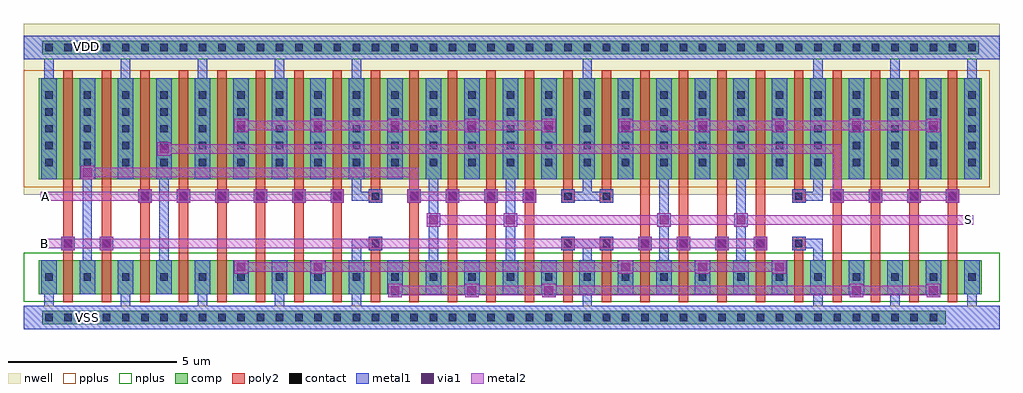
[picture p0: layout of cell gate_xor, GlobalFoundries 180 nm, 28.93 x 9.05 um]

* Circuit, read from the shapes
.subckt gate_xor A B S VDD VSS
XM1 n1 B VSS VSS nfet_03v3 w=1u l=0.28u m=2
XM2 n2 A VSS VSS nfet_03v3 w=1u l=0.28u m=2
XM3 n3 A VSS VSS nfet_03v3 w=1u l=0.28u m=4
XM4 n4 VSS VSS VSS nfet_03v3 w=1u l=0.28u m=2
XM5 S n1 n4 VSS nfet_03v3 w=1u l=0.28u m=4
XM6 n3 VSS VSS VSS nfet_03v3 w=1u l=0.28u m=2
XM7 S B n3 VSS nfet_03v3 w=1u l=0.28u m=4
XM8 n4 n2 VSS VSS nfet_03v3 w=1u l=0.28u m=4
XM9 n1 B VDD VDD pfet_03v3 w=3u l=0.28u m=2
XM10 n2 A VDD VDD pfet_03v3 w=3u l=0.28u m=2
XM11 n5 A VDD VDD pfet_03v3 w=3u l=0.28u m=4
XM12 n5 VDD VDD VDD pfet_03v3 w=3u l=0.28u m=2
XM13 S n1 n5 VDD pfet_03v3 w=3u l=0.28u m=4
XM14 n6 VDD VDD VDD pfet_03v3 w=3u l=0.28u m=2
XM15 S B n6 VDD pfet_03v3 w=3u l=0.28u m=4
XM16 n6 n2 VDD VDD pfet_03v3 w=3u l=0.28u m=4
.ends

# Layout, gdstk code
from math import pi, radians
import gdstk
lib = gdstk.Library(unit=1e-6, precision=5e-09)
def R(c, l, rs):  # rectangles x0, y0, x1, y1
    for r in rs: c.add(gdstk.rectangle(r[:2], r[2:], *l))
def A(c, l, x, y, w, h, nx, ny, dx, dy):  # array of equal rectangles
    R(c, l, [(x+i*dx, y+j*dy, x+i*dx+w, y+j*dy+h) for i in range(nx) for j in range(ny)])
nwell = (21, 0)
comp = (22, 0)
poly2 = (30, 0)
pplus = (31, 0)
nplus = (32, 0)
contact = (33, 0)
metal1 = (34, 0)
via1 = (35, 0)
metal2 = (36, 0)

std_pfet_2nf = lib.new_cell('std_pfet_2nf')
R(std_pfet_2nf, nwell, [(-1.79,-1.86,1.79,1.86)])
R(std_pfet_2nf, comp, [(-1.44,-1.5,1.44,1.5)])
R(std_pfet_2nf, poly2, [(-0.71,-1.74,-0.43,1.74), (0.43,-1.74,0.71,1.74)])
R(std_pfet_2nf, pplus, [(-1.67,-1.73,1.67,1.73)])
A(std_pfet_2nf, contact, -1.25, -1.11, 0.22, 0.22, 3, 5, 1.14, 0.5)
A(std_pfet_2nf, metal1, -1.37, -1.5, 0.46, 3, 3, 1, 1.14, 0)
A(std_pfet_2nf, metal1, -1.37, -1.23, 0.46, 0.46, 3, 5, 1.14, 0.5)

std_pfet_2nf_1 = lib.new_cell('std_pfet_2nf$1')
R(std_pfet_2nf_1, nwell, [(-1.79,-1.86,1.79,1.86)])
R(std_pfet_2nf_1, comp, [(-1.44,-1.5,1.44,1.5)])
R(std_pfet_2nf_1, poly2, [(-0.71,-1.74,-0.43,1.74), (0.43,-1.74,0.71,1.74)])
R(std_pfet_2nf_1, pplus, [(-1.67,-1.73,1.67,1.73)])
A(std_pfet_2nf_1, contact, -1.25, -1.11, 0.22, 0.22, 3, 5, 1.14, 0.5)
A(std_pfet_2nf_1, metal1, -1.37, -1.5, 0.46, 3, 3, 1, 1.14, 0)
A(std_pfet_2nf_1, metal1, -1.37, -1.23, 0.46, 0.46, 3, 5, 1.14, 0.5)

std_cell_frame_2 = lib.new_cell('std_cell_frame$2')
R(std_cell_frame_2, nwell, [(0,3.99,3.78,9.05)])
R(std_cell_frame_2, pplus, [(0,0,3.78,0.7), (0,4.21,3.78,7.67)])
R(std_cell_frame_2, nplus, [(0,0.81,3.78,2.27), (0,8,3.78,8.7)])
std_cell_frame_2.add(gdstk.FlexPath([(0,8.35),(3.78,8.35)], 0.7, ends="flush", simple_path=True, layer=34, datatype=0))  # metal1
std_cell_frame_2.add(gdstk.FlexPath([(0,0.35),(3.78,0.35)], 0.7, ends="flush", simple_path=True, layer=34, datatype=0))  # metal1

std_cell_frame = lib.new_cell('std_cell_frame')
R(std_cell_frame, nwell, [(0,3.99,3.78,9.05)])
R(std_cell_frame, pplus, [(0,0,3.78,0.7), (0,4.21,3.78,7.67)])
R(std_cell_frame, nplus, [(0,0.81,3.78,2.27), (0,8,3.78,8.7)])
std_cell_frame.add(gdstk.FlexPath([(0,8.35),(3.78,8.35)], 0.7, ends="flush", simple_path=True, layer=34, datatype=0))  # metal1
std_cell_frame.add(gdstk.FlexPath([(0,0.35),(3.78,0.35)], 0.7, ends="flush", simple_path=True, layer=34, datatype=0))  # metal1

via_dev_6 = lib.new_cell('via_dev$6')
R(via_dev_6, metal1, [(0,0,0.4,0.4)])
R(via_dev_6, via1, [(0.07,0.07,0.33,0.33)])
R(via_dev_6, metal2, [(0,0,0.4,0.4)])

via_dev = lib.new_cell('via_dev')
R(via_dev, comp, [(0,0,0.4,0.4)])
R(via_dev, contact, [(0.09,0.09,0.31,0.31)])
R(via_dev, metal1, [(0,0,0.4,0.4)])

via_dev_7 = lib.new_cell('via_dev$7')
R(via_dev_7, poly2, [(0,0,0.4,0.4)])
R(via_dev_7, contact, [(0.09,0.09,0.31,0.31)])
R(via_dev_7, metal1, [(0,0,0.4,0.4)])
R(via_dev_7, via1, [(0.07,0.07,0.33,0.33)])
R(via_dev_7, metal2, [(0,0,0.4,0.4)])

std_nfet_2nf = lib.new_cell('std_nfet_2nf')
R(std_nfet_2nf, comp, [(-1.44,-0.5,1.44,0.5)])
R(std_nfet_2nf, poly2, [(-0.71,-0.74,-0.43,0.74), (0.43,-0.74,0.71,0.74)])
R(std_nfet_2nf, nplus, [(-1.67,-0.73,1.67,0.73)])
A(std_nfet_2nf, contact, -1.25, -0.11, 0.22, 0.22, 3, 1, 1.14, 0)
A(std_nfet_2nf, metal1, -1.37, -0.5, 0.46, 1, 3, 1, 1.14, 0)
A(std_nfet_2nf, metal1, -1.37, -0.23, 0.46, 0.46, 3, 1, 1.14, 0)

via_dev_1 = lib.new_cell('via_dev$1')
R(via_dev_1, poly2, [(0,0,0.4,0.4)])
R(via_dev_1, contact, [(0.09,0.09,0.31,0.31)])
R(via_dev_1, metal1, [(0,0,0.4,0.4)])
R(via_dev_1, via1, [(0.07,0.07,0.33,0.33)])
R(via_dev_1, metal2, [(0,0,0.4,0.4)])

via_dev_1_1 = lib.new_cell('via_dev$1$1')
R(via_dev_1_1, poly2, [(0,0,0.4,0.4)])
R(via_dev_1_1, contact, [(0.09,0.09,0.31,0.31)])
R(via_dev_1_1, metal1, [(0,0,0.4,0.4)])
R(via_dev_1_1, via1, [(0.07,0.07,0.33,0.33)])
R(via_dev_1_1, metal2, [(0,0,0.4,0.4)])

std_nfet_2nf_1 = lib.new_cell('std_nfet_2nf$1')
R(std_nfet_2nf_1, comp, [(-1.44,-0.5,1.44,0.5)])
R(std_nfet_2nf_1, poly2, [(-0.71,-0.74,-0.43,0.74), (0.43,-0.74,0.71,0.74)])
R(std_nfet_2nf_1, nplus, [(-1.67,-0.73,1.67,0.73)])
A(std_nfet_2nf_1, contact, -1.25, -0.11, 0.22, 0.22, 3, 1, 1.14, 0)
A(std_nfet_2nf_1, metal1, -1.37, -0.5, 0.46, 1, 3, 1, 1.14, 0)
A(std_nfet_2nf_1, metal1, -1.37, -0.23, 0.46, 0.46, 3, 1, 1.14, 0)

via_dev_2_1_1_1_3_2_1_1 = lib.new_cell('via_dev$2$1$1$1$3$2$1$1')
R(via_dev_2_1_1_1_3_2_1_1, poly2, [(0,0,0.4,0.4)])
R(via_dev_2_1_1_1_3_2_1_1, contact, [(0.09,0.09,0.31,0.31)])
R(via_dev_2_1_1_1_3_2_1_1, metal1, [(0,0,0.4,0.4)])

via_dev_2_1_1_1_3_2_1_1_ = lib.new_cell('via_dev$2$1$1$1$3$2$1$1$1')
R(via_dev_2_1_1_1_3_2_1_1_, poly2, [(0,0,0.4,0.4)])
R(via_dev_2_1_1_1_3_2_1_1_, contact, [(0.09,0.09,0.31,0.31)])
R(via_dev_2_1_1_1_3_2_1_1_, metal1, [(0,0,0.4,0.4)])

via_dev_2_1_1_1_3 = lib.new_cell('via_dev$2$1$1$1$3')
R(via_dev_2_1_1_1_3, poly2, [(0,0,0.4,0.4)])
R(via_dev_2_1_1_1_3, contact, [(0.09,0.09,0.31,0.31)])
R(via_dev_2_1_1_1_3, metal1, [(0,0,0.4,0.4)])

via_dev_2_1_1_1_1_3 = lib.new_cell('via_dev$2$1$1$1$1$3')
R(via_dev_2_1_1_1_1_3, poly2, [(0,0,0.4,0.4)])
R(via_dev_2_1_1_1_1_3, contact, [(0.09,0.09,0.31,0.31)])
R(via_dev_2_1_1_1_1_3, metal1, [(0,0,0.4,0.4)])

via_dev_2_1_1_1_3_1 = lib.new_cell('via_dev$2$1$1$1$3$1')
R(via_dev_2_1_1_1_3_1, poly2, [(0,0,0.4,0.4)])
R(via_dev_2_1_1_1_3_1, contact, [(0.09,0.09,0.31,0.31)])
R(via_dev_2_1_1_1_3_1, metal1, [(0,0,0.4,0.4)])

via_dev_2_1_1_1_1_3_1 = lib.new_cell('via_dev$2$1$1$1$1$3$1')
R(via_dev_2_1_1_1_1_3_1, poly2, [(0,0,0.4,0.4)])
R(via_dev_2_1_1_1_1_3_1, contact, [(0.09,0.09,0.31,0.31)])
R(via_dev_2_1_1_1_1_3_1, metal1, [(0,0,0.4,0.4)])

via_dev_2_1_1_1_3_2 = lib.new_cell('via_dev$2$1$1$1$3$2')
R(via_dev_2_1_1_1_3_2, poly2, [(0,0,0.4,0.4)])
R(via_dev_2_1_1_1_3_2, contact, [(0.09,0.09,0.31,0.31)])
R(via_dev_2_1_1_1_3_2, metal1, [(0,0,0.4,0.4)])

via_dev_2_1_1_1_3_2_1 = lib.new_cell('via_dev$2$1$1$1$3$2$1')
R(via_dev_2_1_1_1_3_2_1, poly2, [(0,0,0.4,0.4)])
R(via_dev_2_1_1_1_3_2_1, contact, [(0.09,0.09,0.31,0.31)])
R(via_dev_2_1_1_1_3_2_1, metal1, [(0,0,0.4,0.4)])

gate_xor = lib.new_cell('gate_xor')
R(gate_xor, nwell, [(4.58,3.99,11.08,9.05), (4.66,3.99,8.24,7.71), (6.94,3.99,10.52,7.71), (11.08,3.99,15.16,9.05), (13.7,3.99,20.2,9.05), (13.78,3.99,17.36,7.71), (16.06,3.99,19.64,7.71), (20.2,3.99,24.28,9.05), (22.82,3.99,28.93,9.05), (25.18,3.99,28.76,7.71)])
A(gate_xor, comp, 5.11, 0.15, 2.11, 0.4, 4, 2, 1.71, 8)
A(gate_xor, comp, 14.23, 0.15, 2.11, 0.4, 4, 2, 1.71, 8)
A(gate_xor, comp, 5.01, 1.04, 2.88, 1, 10, 1, 2.28, 0)
A(gate_xor, comp, 5.01, 4.44, 2.88, 3, 10, 1, 2.28, 0)
A(gate_xor, comp, 0.55, 8.15, 2.11, 0.4, 3, 1, 1.71, 0)
R(gate_xor, comp, [(0.55,0.15,2.66,0.55), (2.26,0.15,5.11,0.55), (11.95,0.15,14.63,0.55), (21.07,0.15,23.75,0.55), (23.35,0.15,25.46,0.55), (25.06,0.15,27.17,0.55), (26.77,0.15,27.34,0.55), (11.95,8.15,14.63,8.55), (21.07,8.15,23.75,8.55), (23.35,8.15,25.46,8.55), (25.06,8.15,27.17,8.55), (26.77,8.15,28.31,8.55)])
A(gate_xor, poly2, 5.74, 0.8, 0.28, 1.48, 20, 1, 1.14, 0)
A(gate_xor, poly2, 5.74, 4.2, 0.28, 3.48, 20, 1, 1.14, 0)
A(gate_xor, pplus, 4.78, 4.21, 3.34, 3.46, 10, 1, 2.28, 0)
R(gate_xor, pplus, [(4.58,0,15.16,0.7), (13.7,0,24.28,0.7), (22.82,0,28.93,0.7)])
R(gate_xor, nplus, [(4.58,0.81,8.12,2.27), (7.06,0.81,10.4,2.27), (7.3,0.81,11.08,2.27), (9.34,0.81,12.68,2.27), (11.08,0.81,14.86,2.27), (11.62,0.81,15.16,2.27), (13.7,0.81,17.24,2.27), (16.18,0.81,19.52,2.27), (16.42,0.81,20.2,2.27), (18.46,0.81,21.8,2.27), (20.2,0.81,23.98,2.27), (20.74,0.81,24.28,2.27), (22.82,0.81,26.36,2.27), (25.3,0.81,28.93,2.27), (4.58,8,15.16,8.7), (13.7,8,24.28,8.7), (22.82,8,28.93,8.7)])
A(gate_xor, contact, 5.2, 1.43, 0.22, 0.22, 3, 2, 1.14, 3.4)
A(gate_xor, contact, 7.48, 1.43, 0.22, 0.22, 3, 2, 1.14, 3.4)
A(gate_xor, contact, 9.76, 1.43, 0.22, 0.22, 3, 2, 1.14, 3.4)
A(gate_xor, contact, 12.04, 1.43, 0.22, 0.22, 3, 2, 1.14, 3.4)
A(gate_xor, contact, 14.32, 1.43, 0.22, 0.22, 3, 2, 1.14, 3.4)
A(gate_xor, contact, 16.6, 1.43, 0.22, 0.22, 3, 2, 1.14, 3.4)
A(gate_xor, contact, 18.88, 1.43, 0.22, 0.22, 3, 2, 1.14, 3.4)
A(gate_xor, contact, 21.16, 1.43, 0.22, 0.22, 3, 2, 1.14, 3.4)
A(gate_xor, contact, 23.44, 1.43, 0.22, 0.22, 3, 2, 1.14, 3.4)
A(gate_xor, contact, 25.72, 1.43, 0.22, 0.22, 3, 2, 1.14, 3.4)
A(gate_xor, contact, 5.2, 4.83, 0.22, 0.22, 1, 5, 0, 0.5)
A(gate_xor, contact, 28, 4.83, 0.22, 0.22, 1, 5, 0, 0.5)
A(gate_xor, contact, 5.2, 5.33, 0.22, 0.22, 3, 4, 1.14, 0.5)
A(gate_xor, contact, 7.48, 5.33, 0.22, 0.22, 3, 4, 1.14, 0.5)
A(gate_xor, contact, 9.76, 5.33, 0.22, 0.22, 3, 4, 1.14, 0.5)
A(gate_xor, contact, 12.04, 5.33, 0.22, 0.22, 3, 4, 1.14, 0.5)
A(gate_xor, contact, 14.32, 5.33, 0.22, 0.22, 3, 4, 1.14, 0.5)
A(gate_xor, contact, 16.6, 5.33, 0.22, 0.22, 3, 4, 1.14, 0.5)
A(gate_xor, contact, 18.88, 5.33, 0.22, 0.22, 3, 4, 1.14, 0.5)
A(gate_xor, contact, 21.16, 5.33, 0.22, 0.22, 3, 4, 1.14, 0.5)
A(gate_xor, contact, 23.44, 5.33, 0.22, 0.22, 3, 4, 1.14, 0.5)
A(gate_xor, contact, 25.72, 5.33, 0.22, 0.22, 3, 4, 1.14, 0.5)
R(gate_xor, contact, [(5.2,1.43,5.42,1.65), (14.32,1.43,14.54,1.65), (14.32,1.43,14.54,1.65), (23.44,1.43,23.66,1.65), (23.44,1.43,23.66,1.65), (28,1.43,28.22,1.65), (14.32,4.83,14.54,5.05), (14.32,4.83,14.54,5.05), (23.44,4.83,23.66,5.05), (23.44,4.83,23.66,5.05), (14.32,5.33,14.54,5.55), (14.32,5.33,14.54,5.55), (23.44,5.33,23.66,5.55), (23.44,5.33,23.66,5.55), (14.32,5.83,14.54,6.05), (14.32,5.83,14.54,6.05), (23.44,5.83,23.66,6.05), (23.44,5.83,23.66,6.05), (14.32,6.33,14.54,6.55), (14.32,6.33,14.54,6.55), (23.44,6.33,23.66,6.55), (23.44,6.33,23.66,6.55), (14.32,6.83,14.54,7.05), (14.32,6.83,14.54,7.05), (23.44,6.83,23.66,7.05), (23.44,6.83,23.66,7.05)])
A(gate_xor, metal1, 5.08, 1.04, 0.46, 1, 3, 1, 1.14, 0)
A(gate_xor, metal1, 7.36, 1.04, 0.46, 1, 3, 1, 1.14, 0)
A(gate_xor, metal1, 9.64, 1.04, 0.46, 1, 3, 1, 1.14, 0)
A(gate_xor, metal1, 11.92, 1.04, 0.46, 1, 3, 1, 1.14, 0)
A(gate_xor, metal1, 14.2, 1.04, 0.46, 1, 3, 1, 1.14, 0)
A(gate_xor, metal1, 16.48, 1.04, 0.46, 1, 3, 1, 1.14, 0)
A(gate_xor, metal1, 18.76, 1.04, 0.46, 1, 3, 1, 1.14, 0)
A(gate_xor, metal1, 21.04, 1.04, 0.46, 1, 3, 1, 1.14, 0)
A(gate_xor, metal1, 23.32, 1.04, 0.46, 1, 3, 1, 1.14, 0)
A(gate_xor, metal1, 25.6, 1.04, 0.46, 1, 3, 1, 1.14, 0)
A(gate_xor, metal1, 5.08, 1.31, 0.46, 0.46, 3, 2, 1.14, 3.4)
A(gate_xor, metal1, 7.36, 1.31, 0.46, 0.46, 3, 2, 1.14, 3.4)
A(gate_xor, metal1, 9.64, 1.31, 0.46, 0.46, 3, 2, 1.14, 3.4)
A(gate_xor, metal1, 11.92, 1.31, 0.46, 0.46, 3, 2, 1.14, 3.4)
A(gate_xor, metal1, 14.2, 1.31, 0.46, 0.46, 3, 2, 1.14, 3.4)
A(gate_xor, metal1, 16.48, 1.31, 0.46, 0.46, 3, 2, 1.14, 3.4)
A(gate_xor, metal1, 18.76, 1.31, 0.46, 0.46, 3, 2, 1.14, 3.4)
A(gate_xor, metal1, 21.04, 1.31, 0.46, 0.46, 3, 2, 1.14, 3.4)
A(gate_xor, metal1, 23.32, 1.31, 0.46, 0.46, 3, 2, 1.14, 3.4)
A(gate_xor, metal1, 25.6, 1.31, 0.46, 0.46, 3, 2, 1.14, 3.4)
A(gate_xor, metal1, 5.08, 4.44, 0.46, 3, 3, 1, 1.14, 0)
A(gate_xor, metal1, 7.36, 4.44, 0.46, 3, 3, 1, 1.14, 0)
A(gate_xor, metal1, 9.64, 4.44, 0.46, 3, 3, 1, 1.14, 0)
A(gate_xor, metal1, 11.92, 4.44, 0.46, 3, 3, 1, 1.14, 0)
A(gate_xor, metal1, 14.2, 4.44, 0.46, 3, 3, 1, 1.14, 0)
A(gate_xor, metal1, 16.48, 4.44, 0.46, 3, 3, 1, 1.14, 0)
A(gate_xor, metal1, 18.76, 4.44, 0.46, 3, 3, 1, 1.14, 0)
A(gate_xor, metal1, 21.04, 4.44, 0.46, 3, 3, 1, 1.14, 0)
A(gate_xor, metal1, 23.32, 4.44, 0.46, 3, 3, 1, 1.14, 0)
A(gate_xor, metal1, 25.6, 4.44, 0.46, 3, 3, 1, 1.14, 0)
A(gate_xor, metal1, 5.08, 4.71, 0.46, 0.46, 1, 5, 0, 0.5)
A(gate_xor, metal1, 5.08, 5.21, 0.46, 0.46, 3, 4, 1.14, 0.5)
A(gate_xor, metal1, 7.36, 5.21, 0.46, 0.46, 3, 4, 1.14, 0.5)
A(gate_xor, metal1, 9.64, 5.21, 0.46, 0.46, 3, 4, 1.14, 0.5)
A(gate_xor, metal1, 11.92, 5.21, 0.46, 0.46, 3, 4, 1.14, 0.5)
A(gate_xor, metal1, 14.2, 5.21, 0.46, 0.46, 3, 4, 1.14, 0.5)
A(gate_xor, metal1, 16.48, 5.21, 0.46, 0.46, 3, 4, 1.14, 0.5)
A(gate_xor, metal1, 18.76, 5.71, 0.46, 0.46, 3, 3, 1.14, 0.5)
A(gate_xor, metal1, 21.04, 5.71, 0.46, 0.46, 3, 3, 1.14, 0.5)
A(gate_xor, metal1, 23.32, 5.71, 0.46, 0.46, 3, 3, 1.14, 0.5)
A(gate_xor, metal1, 25.6, 5.71, 0.46, 0.46, 3, 3, 1.14, 0.5)
A(gate_xor, metal1, 27.88, 5.71, 0.46, 0.46, 1, 3, 0, 0.5)
R(gate_xor, metal1, [(5.08,1.04,5.54,2.04), (14.2,1.04,14.66,2.04), (14.2,1.04,14.66,2.04), (23.32,1.04,23.78,2.04), (23.32,1.04,23.78,2.04), (27.88,1.04,28.34,2.04), (5.08,1.31,5.54,1.77), (14.2,1.31,14.66,1.77), (14.2,1.31,14.66,1.77), (23.32,1.31,23.78,1.77), (23.32,1.31,23.78,1.77), (27.88,1.31,28.34,1.77), (5.08,4.44,5.54,7.44), (7.36,4.44,7.82,7.44), (9.64,4.44,10.1,7.44), (14.2,4.44,14.66,7.44), (14.2,4.44,14.66,7.44), (16.48,4.44,16.94,7.44), (23.32,4.44,23.78,7.44), (23.32,4.44,23.78,7.44), (23.32,4.44,23.78,7.44), (25.6,4.44,26.06,7.44), (27.88,4.44,28.34,7.44), (27.88,4.44,28.34,7.44), (14.2,4.71,14.66,5.17), (14.2,4.71,14.66,5.17), (23.32,4.71,23.78,5.17), (23.32,4.71,23.78,5.17), (27.88,4.71,28.34,5.17), (14.2,5.21,14.66,5.67), (14.2,5.21,14.66,5.67), (18.76,5.21,19.22,5.67), (19.9,5.21,20.36,5.67), (14.2,5.71,14.66,6.17), (14.2,5.71,14.66,6.17), (23.32,5.71,23.78,6.17), (23.32,5.71,23.78,6.17), (14.2,6.21,14.66,6.67), (14.2,6.21,14.66,6.67), (23.32,6.21,23.78,6.67), (23.32,6.21,23.78,6.67), (14.2,6.71,14.66,7.17), (14.2,6.71,14.66,7.17), (23.32,6.71,23.78,7.17), (23.32,6.71,23.78,7.17)])
gate_xor.add(gdstk.FlexPath([(22.82,8.35),(28.93,8.35)], 0.7, ends="flush", simple_path=True, layer=34, datatype=0))  # metal1
gate_xor.add(gdstk.FlexPath([(22.82,0.35),(28.93,0.35)], 0.7, ends="flush", simple_path=True, layer=34, datatype=0))  # metal1
gate_xor.add(gdstk.FlexPath([(7.59,8.7),(7.59,4.44)], 0.28, ends="flush", simple_path=True, layer=34, datatype=0))  # metal1
gate_xor.add(gdstk.FlexPath([(9.87,8.7),(9.87,4.44)], 0.28, ends="flush", simple_path=True, layer=34, datatype=0))  # metal1
gate_xor.add(gdstk.FlexPath([(16.71,8.7),(16.71,4.44)], 0.28, ends="flush", simple_path=True, layer=34, datatype=0))  # metal1
gate_xor.add(gdstk.FlexPath([(23.55,8.7),(23.55,4.44)], 0.28, ends="flush", simple_path=True, layer=34, datatype=0))  # metal1
gate_xor.add(gdstk.FlexPath([(25.83,8.7),(25.83,4.44)], 0.28, ends="flush", simple_path=True, layer=34, datatype=0))  # metal1
gate_xor.add(gdstk.FlexPath([(28.11,8.7),(28.11,4.44)], 0.28, ends="flush", simple_path=True, layer=34, datatype=0))  # metal1
gate_xor.add(gdstk.FlexPath([(7.59,2.04),(7.59,0)], 0.28, ends="flush", simple_path=True, layer=34, datatype=0))  # metal1
gate_xor.add(gdstk.FlexPath([(9.87,2.04),(9.87,0)], 0.28, ends="flush", simple_path=True, layer=34, datatype=0))  # metal1
gate_xor.add(gdstk.FlexPath([(16.71,2.04),(16.71,0)], 0.28, ends="flush", simple_path=True, layer=34, datatype=0))  # metal1
gate_xor.add(gdstk.FlexPath([(23.55,2.04),(23.55,0)], 0.28, ends="flush", simple_path=True, layer=34, datatype=0))  # metal1
gate_xor.add(gdstk.FlexPath([(25.83,2.04),(25.83,0)], 0.28, ends="flush", simple_path=True, layer=34, datatype=0))  # metal1
gate_xor.add(gdstk.FlexPath([(28.11,2.04),(28.11,0)], 0.28, ends="flush", simple_path=True, layer=34, datatype=0))  # metal1
gate_xor.add(gdstk.FlexPath([(12.15,4.44),(12.15,2.04)], 0.28, ends="flush", simple_path=True, layer=34, datatype=0))  # metal1
gate_xor.add(gdstk.FlexPath([(14.43,4.44),(14.43,2.04)], 0.28, ends="flush", simple_path=True, layer=34, datatype=0))  # metal1
gate_xor.add(gdstk.FlexPath([(18.99,4.44),(18.99,2.04)], 0.28, ends="flush", simple_path=True, layer=34, datatype=0))  # metal1
gate_xor.add(gdstk.FlexPath([(21.27,4.44),(21.27,2.04)], 0.28, ends="flush", simple_path=True, layer=34, datatype=0))  # metal1
gate_xor.add(gdstk.FlexPath([(5.31,2.04),(5.31,0)], 0.28, ends="flush", simple_path=True, layer=34, datatype=0))  # metal1
gate_xor.add(gdstk.FlexPath([(16.57,3.94),(17.48,3.94)], 0.28, ends="flush", simple_path=True, layer=34, datatype=0))  # metal1
gate_xor.add(gdstk.FlexPath([(16.57,3.94),(17.48,3.94)], 0.28, ends="flush", simple_path=True, layer=34, datatype=0))  # metal1
gate_xor.add(gdstk.FlexPath([(16.71,3.8),(16.71,4.44)], 0.28, ends="flush", simple_path=True, layer=34, datatype=0))  # metal1
gate_xor.add(gdstk.FlexPath([(16.85,3.94),(15.94,3.94)], 0.28, ends="flush", simple_path=True, layer=34, datatype=0))  # metal1
gate_xor.add(gdstk.FlexPath([(16.85,3.94),(15.94,3.94)], 0.28, ends="flush", simple_path=True, layer=34, datatype=0))  # metal1
gate_xor.add(gdstk.FlexPath([(16.71,3.8),(16.71,4.44)], 0.28, ends="flush", simple_path=True, layer=34, datatype=0))  # metal1
gate_xor.add(gdstk.FlexPath([(16.57,2.54),(17.48,2.54)], 0.28, ends="flush", simple_path=True, layer=34, datatype=0))  # metal1
gate_xor.add(gdstk.FlexPath([(16.57,2.54),(17.48,2.54)], 0.28, ends="flush", simple_path=True, layer=34, datatype=0))  # metal1
gate_xor.add(gdstk.FlexPath([(16.71,2.68),(16.71,2.04)], 0.28, ends="flush", simple_path=True, layer=34, datatype=0))  # metal1
gate_xor.add(gdstk.FlexPath([(16.85,2.54),(15.94,2.54)], 0.28, ends="flush", simple_path=True, layer=34, datatype=0))  # metal1
gate_xor.add(gdstk.FlexPath([(16.85,2.54),(15.94,2.54)], 0.28, ends="flush", simple_path=True, layer=34, datatype=0))  # metal1
gate_xor.add(gdstk.FlexPath([(16.71,2.68),(16.71,2.04)], 0.28, ends="flush", simple_path=True, layer=34, datatype=0))  # metal1
gate_xor.add(gdstk.FlexPath([(23.69,3.94),(22.78,3.94)], 0.28, ends="flush", simple_path=True, layer=34, datatype=0))  # metal1
gate_xor.add(gdstk.FlexPath([(23.69,3.94),(22.78,3.94)], 0.28, ends="flush", simple_path=True, layer=34, datatype=0))  # metal1
gate_xor.add(gdstk.FlexPath([(23.55,3.8),(23.55,4.44)], 0.28, ends="flush", simple_path=True, layer=34, datatype=0))  # metal1
gate_xor.add(gdstk.FlexPath([(23.55,3.8),(23.55,4.44)], 0.28, ends="flush", simple_path=True, layer=34, datatype=0))  # metal1
gate_xor.add(gdstk.FlexPath([(23.69,2.54),(22.78,2.54)], 0.28, ends="flush", simple_path=True, layer=34, datatype=0))  # metal1
gate_xor.add(gdstk.FlexPath([(23.69,2.54),(22.78,2.54)], 0.28, ends="flush", simple_path=True, layer=34, datatype=0))  # metal1
gate_xor.add(gdstk.FlexPath([(23.55,2.68),(23.55,2.04)], 0.28, ends="flush", simple_path=True, layer=34, datatype=0))  # metal1
gate_xor.add(gdstk.FlexPath([(23.55,2.68),(23.55,2.04)], 0.28, ends="flush", simple_path=True, layer=34, datatype=0))  # metal1
gate_xor.add(gdstk.FlexPath([(9.73,2.54),(10.64,2.54)], 0.28, ends="flush", simple_path=True, layer=34, datatype=0))  # metal1
gate_xor.add(gdstk.FlexPath([(9.73,2.54),(10.64,2.54)], 0.28, ends="flush", simple_path=True, layer=34, datatype=0))  # metal1
gate_xor.add(gdstk.FlexPath([(9.87,2.68),(9.87,2.04)], 0.28, ends="flush", simple_path=True, layer=34, datatype=0))  # metal1
gate_xor.add(gdstk.FlexPath([(9.87,2.68),(9.87,2.04)], 0.28, ends="flush", simple_path=True, layer=34, datatype=0))  # metal1
gate_xor.add(gdstk.FlexPath([(9.73,3.94),(10.64,3.94)], 0.28, ends="flush", simple_path=True, layer=34, datatype=0))  # metal1
gate_xor.add(gdstk.FlexPath([(9.73,3.94),(10.64,3.94)], 0.28, ends="flush", simple_path=True, layer=34, datatype=0))  # metal1
gate_xor.add(gdstk.FlexPath([(9.87,3.8),(9.87,4.44)], 0.28, ends="flush", simple_path=True, layer=34, datatype=0))  # metal1
gate_xor.add(gdstk.FlexPath([(9.87,3.8),(9.87,4.44)], 0.28, ends="flush", simple_path=True, layer=34, datatype=0))  # metal1
gate_xor.add(gdstk.FlexPath([(13.7,8.35),(24.28,8.35)], 0.7, ends="flush", simple_path=True, layer=34, datatype=0))  # metal1
gate_xor.add(gdstk.FlexPath([(13.7,0.35),(24.28,0.35)], 0.7, ends="flush", simple_path=True, layer=34, datatype=0))  # metal1
gate_xor.add(gdstk.FlexPath([(4.58,0.35),(15.16,0.35)], 0.7, ends="flush", simple_path=True, layer=34, datatype=0))  # metal1
gate_xor.add(gdstk.FlexPath([(4.58,8.35),(15.16,8.35)], 0.7, ends="flush", simple_path=True, layer=34, datatype=0))  # metal1
gate_xor.add(gdstk.FlexPath([(5.31,8.7),(5.31,7.44)], 0.28, ends="flush", simple_path=True, layer=34, datatype=0))  # metal1
gate_xor.add(gdstk.FlexPath([(4.17,7.44),(4.17,1.04)], 0.28, ends="flush", simple_path=True, layer=34, datatype=0))  # metal1
gate_xor.add(gdstk.FlexPath([(3.03,2.04),(3.03,0)], 0.28, ends="flush", simple_path=True, layer=34, datatype=0))  # metal1
gate_xor.add(gdstk.FlexPath([(5.31,8.7),(5.31,4.44)], 0.28, ends="flush", simple_path=True, layer=34, datatype=0))  # metal1
gate_xor.add(gdstk.FlexPath([(3.03,8.7),(3.03,4.44)], 0.28, ends="flush", simple_path=True, layer=34, datatype=0))  # metal1
gate_xor.add(gdstk.FlexPath([(0.75,8.7),(0.75,4.44)], 0.28, ends="flush", simple_path=True, layer=34, datatype=0))  # metal1
gate_xor.add(gdstk.FlexPath([(3.03,8.7),(3.03,4.44)], 0.28, ends="flush", simple_path=True, layer=34, datatype=0))  # metal1
gate_xor.add(gdstk.FlexPath([(0.75,2.04),(0.75,0)], 0.28, ends="flush", simple_path=True, layer=34, datatype=0))  # metal1
gate_xor.add(gdstk.FlexPath([(3.03,2.04),(3.03,0)], 0.28, ends="flush", simple_path=True, layer=34, datatype=0))  # metal1
gate_xor.add(gdstk.FlexPath([(1.89,7.44),(1.89,1.04)], 0.28, ends="flush", simple_path=True, layer=34, datatype=0))  # metal1
gate_xor.add(gdstk.FlexPath([(5.88,2.28),(5.88,4.2)], 0.28, ends="flush", simple_path=True, layer=30, datatype=0))  # poly2
gate_xor.add(gdstk.FlexPath([(7.02,2.28),(7.02,4.2)], 0.28, ends="flush", simple_path=True, layer=30, datatype=0))  # poly2
gate_xor.add(gdstk.FlexPath([(8.16,2.28),(8.16,4.2)], 0.28, ends="flush", simple_path=True, layer=30, datatype=0))  # poly2
gate_xor.add(gdstk.FlexPath([(9.3,2.28),(9.3,4.2)], 0.28, ends="flush", simple_path=True, layer=30, datatype=0))  # poly2
gate_xor.add(gdstk.FlexPath([(11.58,2.28),(11.58,4.2)], 0.28, ends="flush", simple_path=True, layer=30, datatype=0))  # poly2
gate_xor.add(gdstk.FlexPath([(12.72,2.28),(12.72,4.2)], 0.28, ends="flush", simple_path=True, layer=30, datatype=0))  # poly2
gate_xor.add(gdstk.FlexPath([(13.86,2.28),(13.86,4.2)], 0.28, ends="flush", simple_path=True, layer=30, datatype=0))  # poly2
gate_xor.add(gdstk.FlexPath([(15,2.28),(15,4.2)], 0.28, ends="flush", simple_path=True, layer=30, datatype=0))  # poly2
gate_xor.add(gdstk.FlexPath([(18.42,2.28),(18.42,4.2)], 0.28, ends="flush", simple_path=True, layer=30, datatype=0))  # poly2
gate_xor.add(gdstk.FlexPath([(19.56,2.28),(19.56,4.2)], 0.28, ends="flush", simple_path=True, layer=30, datatype=0))  # poly2
gate_xor.add(gdstk.FlexPath([(20.7,2.28),(20.7,4.2)], 0.28, ends="flush", simple_path=True, layer=30, datatype=0))  # poly2
gate_xor.add(gdstk.FlexPath([(21.84,2.28),(21.84,4.2)], 0.28, ends="flush", simple_path=True, layer=30, datatype=0))  # poly2
gate_xor.add(gdstk.FlexPath([(24.12,2.28),(24.12,4.2)], 0.28, ends="flush", simple_path=True, layer=30, datatype=0))  # poly2
gate_xor.add(gdstk.FlexPath([(25.26,2.28),(25.26,4.2)], 0.28, ends="flush", simple_path=True, layer=30, datatype=0))  # poly2
gate_xor.add(gdstk.FlexPath([(26.4,2.28),(26.4,4.2)], 0.28, ends="flush", simple_path=True, layer=30, datatype=0))  # poly2
gate_xor.add(gdstk.FlexPath([(27.54,2.28),(27.54,4.2)], 0.28, ends="flush", simple_path=True, layer=30, datatype=0))  # poly2
gate_xor.add(gdstk.FlexPath([(17.28,3.94),(17.28,4.2)], 0.28, ends="flush", simple_path=True, layer=30, datatype=0))  # poly2
gate_xor.add(gdstk.FlexPath([(16.14,3.94),(16.14,4.2)], 0.28, ends="flush", simple_path=True, layer=30, datatype=0))  # poly2
gate_xor.add(gdstk.FlexPath([(17.28,2.54),(17.28,2.28)], 0.28, ends="flush", simple_path=True, layer=30, datatype=0))  # poly2
gate_xor.add(gdstk.FlexPath([(16.14,2.54),(16.14,2.28)], 0.28, ends="flush", simple_path=True, layer=30, datatype=0))  # poly2
gate_xor.add(gdstk.FlexPath([(22.98,3.94),(22.98,4.2)], 0.28, ends="flush", simple_path=True, layer=30, datatype=0))  # poly2
gate_xor.add(gdstk.FlexPath([(22.98,2.54),(22.98,2.28)], 0.28, ends="flush", simple_path=True, layer=30, datatype=0))  # poly2
gate_xor.add(gdstk.FlexPath([(10.44,2.54),(10.44,2.28)], 0.28, ends="flush", simple_path=True, layer=30, datatype=0))  # poly2
gate_xor.add(gdstk.FlexPath([(10.44,3.94),(10.44,4.2)], 0.28, ends="flush", simple_path=True, layer=30, datatype=0))  # poly2
gate_xor.add(gdstk.FlexPath([(4.74,7.67),(4.74,0.8)], 0.28, ends="flush", simple_path=True, layer=30, datatype=0))  # poly2
gate_xor.add(gdstk.FlexPath([(3.6,7.67),(3.6,0.8)], 0.28, ends="flush", simple_path=True, layer=30, datatype=0))  # poly2
gate_xor.add(gdstk.FlexPath([(1.32,7.67),(1.32,0.8)], 0.28, ends="flush", simple_path=True, layer=30, datatype=0))  # poly2
gate_xor.add(gdstk.FlexPath([(2.46,7.67),(2.46,0.8)], 0.28, ends="flush", simple_path=True, layer=30, datatype=0))  # poly2
gate_xor.add(gdstk.FlexPath([(12.01,3.24),(28.145,3.24)], 0.28, ends="flush", simple_path=True, layer=36, datatype=0))  # metal2
gate_xor.add(gdstk.FlexPath([(5.74,3.94),(9.44,3.94)], 0.28, ends="flush", simple_path=True, layer=36, datatype=0))  # metal2
gate_xor.add(gdstk.FlexPath([(11.44,3.94),(15.14,3.94)], 0.28, ends="flush", simple_path=True, layer=36, datatype=0))  # metal2
gate_xor.add(gdstk.FlexPath([(2.6,2.54),(21.98,2.54)], 0.28, ends="flush", simple_path=True, layer=36, datatype=0))  # metal2
gate_xor.add(gdstk.FlexPath([(23.985,3.94),(27.685,3.94)], 0.28, ends="flush", simple_path=True, layer=36, datatype=0))  # metal2
gate_xor.add(gdstk.FlexPath([(10.81,1.14),(27.17,1.14)], 0.28, ends="flush", simple_path=True, layer=36, datatype=0))  # metal2
gate_xor.add(gdstk.FlexPath([(17.65,6.04),(27.17,6.04)], 0.28, ends="flush", simple_path=True, layer=36, datatype=0))  # metal2
gate_xor.add(gdstk.FlexPath([(15.77,6.04),(6.25,6.04)], 0.28, ends="flush", simple_path=True, layer=36, datatype=0))  # metal2
gate_xor.add(gdstk.FlexPath([(6.25,1.84),(22.61,1.84)], 0.28, ends="flush", simple_path=True, layer=36, datatype=0))  # metal2
gate_xor.add(gdstk.FlexPath([(0.515,3.94),(5.68,3.94)], 0.28, ends="flush", simple_path=True, layer=36, datatype=0))  # metal2
gate_xor.add(gdstk.FlexPath([(0.515,2.54),(2.66,2.54)], 0.28, ends="flush", simple_path=True, layer=36, datatype=0))  # metal2
gate_xor.add(gdstk.FlexPath([(1.69,4.64),(11.58,4.64)], 0.28, ends="flush", simple_path=True, layer=36, datatype=0))  # metal2
gate_xor.add(gdstk.FlexPath([(11.58,4.78),(11.58,3.74)], 0.28, ends="flush", simple_path=True, layer=36, datatype=0))  # metal2
gate_xor.add(gdstk.FlexPath([(3.97,5.34),(24.26,5.34)], 0.28, ends="flush", simple_path=True, layer=36, datatype=0))  # metal2
gate_xor.add(gdstk.FlexPath([(24.12,5.48),(24.12,3.74)], 0.28, ends="flush", simple_path=True, layer=36, datatype=0))  # metal2
gate_xor.add(gdstk.Reference(std_pfet_2nf, (4.17,5.94)))
gate_xor.add(gdstk.Reference(std_pfet_2nf_1, (1.89,5.94)))
gate_xor.add(gdstk.Reference(std_cell_frame_2, (0,0)))
gate_xor.add(gdstk.Reference(std_cell_frame, (2.28,0)))
gate_xor.add(gdstk.Reference(via_dev_6, (1.69,4.44)))
gate_xor.add(gdstk.Reference(via_dev, (19.93,8.15)))
gate_xor.add(gdstk.Reference(via_dev, (17.65,8.15)))
gate_xor.add(gdstk.Reference(via_dev, (19.36,8.15)))
gate_xor.add(gdstk.Reference(via_dev, (18.79,8.15)))
gate_xor.add(gdstk.Reference(via_dev, (18.22,8.15)))
gate_xor.add(gdstk.Reference(via_dev, (17.65,8.15)))
gate_xor.add(gdstk.Reference(via_dev, (17.08,8.15)))
gate_xor.add(gdstk.Reference(via_dev, (23.35,8.15)))
gate_xor.add(gdstk.Reference(via_dev, (26.77,8.15)))
gate_xor.add(gdstk.Reference(via_dev, (27.91,8.15)))
gate_xor.add(gdstk.Reference(via_dev, (27.34,8.15)))
gate_xor.add(gdstk.Reference(via_dev, (25.06,8.15)))
gate_xor.add(gdstk.Reference(via_dev, (26.77,8.15)))
gate_xor.add(gdstk.Reference(via_dev, (26.2,8.15)))
gate_xor.add(gdstk.Reference(via_dev, (25.63,8.15)))
gate_xor.add(gdstk.Reference(via_dev, (23.35,8.15)))
gate_xor.add(gdstk.Reference(via_dev, (25.06,8.15)))
gate_xor.add(gdstk.Reference(via_dev, (24.49,8.15)))
gate_xor.add(gdstk.Reference(via_dev, (23.92,8.15)))
gate_xor.add(gdstk.Reference(via_dev, (21.07,8.15)))
gate_xor.add(gdstk.Reference(via_dev, (22.78,8.15)))
gate_xor.add(gdstk.Reference(via_dev, (22.21,8.15)))
gate_xor.add(gdstk.Reference(via_dev, (16.51,8.15)))
gate_xor.add(gdstk.Reference(via_dev, (21.64,8.15)))
gate_xor.add(gdstk.Reference(via_dev, (21.07,8.15)))
gate_xor.add(gdstk.Reference(via_dev, (19.36,8.15)))
gate_xor.add(gdstk.Reference(via_dev, (15.37,8.15)))
gate_xor.add(gdstk.Reference(via_dev, (14.8,8.15)))
gate_xor.add(gdstk.Reference(via_dev, (15.94,8.15)))
gate_xor.add(gdstk.Reference(via_dev, (15.94,8.15)))
gate_xor.add(gdstk.Reference(via_dev, (14.23,8.15)))
gate_xor.add(gdstk.Reference(via_dev, (14.23,8.15)))
gate_xor.add(gdstk.Reference(via_dev_6, (26.77,5.84)))
gate_xor.add(gdstk.Reference(via_dev_6, (24.49,5.84)))
gate_xor.add(gdstk.Reference(via_dev_6, (22.21,5.84)))
gate_xor.add(gdstk.Reference(via_dev_6, (19.93,5.84)))
gate_xor.add(gdstk.Reference(via_dev, (21.07,8.15)))
gate_xor.add(gdstk.Reference(via_dev_6, (17.65,5.84)))
gate_xor.add(gdstk.Reference(via_dev_6, (15.77,5.84), rotation=pi, x_reflection=True))
gate_xor.add(gdstk.Reference(via_dev, (20.5,8.15)))
gate_xor.add(gdstk.Reference(via_dev, (8.53,8.15)))
gate_xor.add(gdstk.Reference(via_dev, (10.24,8.15)))
gate_xor.add(gdstk.Reference(via_dev, (9.67,8.15)))
gate_xor.add(gdstk.Reference(via_dev, (9.1,8.15)))
gate_xor.add(gdstk.Reference(via_dev, (6.82,8.15)))
gate_xor.add(gdstk.Reference(via_dev, (11.95,8.15)))
gate_xor.add(gdstk.Reference(via_dev, (13.66,8.15)))
gate_xor.add(gdstk.Reference(via_dev, (13.09,8.15)))
gate_xor.add(gdstk.Reference(via_dev, (12.52,8.15)))
gate_xor.add(gdstk.Reference(via_dev, (11.95,8.15)))
gate_xor.add(gdstk.Reference(via_dev, (1.12,8.15)))
gate_xor.add(gdstk.Reference(via_dev, (1.69,8.15)))
gate_xor.add(gdstk.Reference(via_dev, (2.26,8.15)))
gate_xor.add(gdstk.Reference(via_dev, (0.55,8.15)))
gate_xor.add(gdstk.Reference(via_dev, (2.26,8.15)))
gate_xor.add(gdstk.Reference(via_dev, (2.83,8.15)))
gate_xor.add(gdstk.Reference(via_dev, (3.4,8.15)))
gate_xor.add(gdstk.Reference(via_dev, (3.97,8.15)))
gate_xor.add(gdstk.Reference(via_dev, (2.26,8.15)))
gate_xor.add(gdstk.Reference(via_dev, (3.97,8.15)))
gate_xor.add(gdstk.Reference(via_dev, (4.54,8.15)))
gate_xor.add(gdstk.Reference(via_dev, (5.11,8.15)))
gate_xor.add(gdstk.Reference(via_dev, (5.68,8.15)))
gate_xor.add(gdstk.Reference(via_dev, (3.97,8.15)))
gate_xor.add(gdstk.Reference(via_dev, (5.68,8.15)))
gate_xor.add(gdstk.Reference(via_dev, (10.24,8.15)))
gate_xor.add(gdstk.Reference(via_dev, (11.95,8.15)))
gate_xor.add(gdstk.Reference(via_dev, (11.38,8.15)))
gate_xor.add(gdstk.Reference(via_dev, (8.53,8.15)))
gate_xor.add(gdstk.Reference(via_dev, (7.96,8.15)))
gate_xor.add(gdstk.Reference(via_dev, (7.39,8.15)))
gate_xor.add(gdstk.Reference(via_dev, (5.11,8.15)))
gate_xor.add(gdstk.Reference(via_dev, (6.82,8.15)))
gate_xor.add(gdstk.Reference(via_dev, (6.25,8.15)))
gate_xor.add(gdstk.Reference(via_dev_6, (6.65,5.84), rotation=pi, x_reflection=True))
gate_xor.add(gdstk.Reference(via_dev_6, (8.93,5.84), rotation=pi, x_reflection=True))
gate_xor.add(gdstk.Reference(via_dev_6, (11.21,5.84), rotation=pi, x_reflection=True))
gate_xor.add(gdstk.Reference(via_dev_6, (13.49,5.84), rotation=pi, x_reflection=True))
gate_xor.add(gdstk.Reference(via_dev, (5.68,8.15)))
gate_xor.add(gdstk.Reference(via_dev, (10.81,8.15)))
gate_xor.add(gdstk.Reference(via_dev_6, (3.97,5.14)))
gate_xor.add(gdstk.Reference(via_dev_6, (13.09,0.94)))
gate_xor.add(gdstk.Reference(via_dev_7, (9.1,3.74)))
gate_xor.add(gdstk.Reference(via_dev_7, (11.38,3.74)))
gate_xor.add(gdstk.Reference(via_dev_7, (12.52,3.74)))
gate_xor.add(gdstk.Reference(via_dev_6, (11.95,3.04)))
gate_xor.add(gdstk.Reference(via_dev, (11.95,0.15)))
gate_xor.add(gdstk.Reference(via_dev, (13.66,0.15)))
gate_xor.add(gdstk.Reference(via_dev_7, (13.66,3.74)))
gate_xor.add(gdstk.Reference(std_nfet_2nf, (4.17,1.54)))
gate_xor.add(gdstk.Reference(via_dev_1, (4.54,3.74)))
gate_xor.add(gdstk.Reference(via_dev_1, (3.4,3.74)))
gate_xor.add(gdstk.Reference(via_dev_1_1, (1.12,2.34)))
gate_xor.add(gdstk.Reference(via_dev_1_1, (2.26,2.34)))
gate_xor.add(gdstk.Reference(via_dev_7, (5.68,3.74)))
gate_xor.add(gdstk.Reference(via_dev_7, (6.82,3.74)))
gate_xor.add(gdstk.Reference(std_nfet_2nf_1, (1.89,1.54)))
gate_xor.add(gdstk.Reference(via_dev, (13.09,0.15)))
gate_xor.add(gdstk.Reference(via_dev, (5.11,0.15)))
gate_xor.add(gdstk.Reference(via_dev, (12.52,0.15)))
gate_xor.add(gdstk.Reference(via_dev, (11.95,0.15)))
gate_xor.add(gdstk.Reference(via_dev, (10.24,0.15)))
gate_xor.add(gdstk.Reference(via_dev, (11.95,0.15)))
gate_xor.add(gdstk.Reference(via_dev, (11.38,0.15)))
gate_xor.add(gdstk.Reference(via_dev, (10.81,0.15)))
gate_xor.add(gdstk.Reference(via_dev, (8.53,0.15)))
gate_xor.add(gdstk.Reference(via_dev, (10.24,0.15)))
gate_xor.add(gdstk.Reference(via_dev, (9.67,0.15)))
gate_xor.add(gdstk.Reference(via_dev, (9.1,0.15)))
gate_xor.add(gdstk.Reference(via_dev, (6.82,0.15)))
gate_xor.add(gdstk.Reference(via_dev, (8.53,0.15)))
gate_xor.add(gdstk.Reference(via_dev, (7.96,0.15)))
gate_xor.add(gdstk.Reference(via_dev, (7.39,0.15)))
gate_xor.add(gdstk.Reference(via_dev, (1.12,0.15)))
gate_xor.add(gdstk.Reference(via_dev, (1.69,0.15)))
gate_xor.add(gdstk.Reference(via_dev, (2.26,0.15)))
gate_xor.add(gdstk.Reference(via_dev, (0.55,0.15)))
gate_xor.add(gdstk.Reference(via_dev, (2.26,0.15)))
gate_xor.add(gdstk.Reference(via_dev, (2.83,0.15)))
gate_xor.add(gdstk.Reference(via_dev, (3.4,0.15)))
gate_xor.add(gdstk.Reference(via_dev, (3.97,0.15)))
gate_xor.add(gdstk.Reference(via_dev, (2.26,0.15)))
gate_xor.add(gdstk.Reference(via_dev, (3.97,0.15)))
gate_xor.add(gdstk.Reference(via_dev_7, (7.96,3.74)))
gate_xor.add(gdstk.Reference(via_dev, (5.11,0.15)))
gate_xor.add(gdstk.Reference(via_dev, (6.82,0.15)))
gate_xor.add(gdstk.Reference(via_dev, (4.54,0.15)))
gate_xor.add(gdstk.Reference(via_dev, (5.11,0.15)))
gate_xor.add(gdstk.Reference(via_dev, (3.97,0.15)))
gate_xor.add(gdstk.Reference(via_dev, (6.25,0.15)))
gate_xor.add(gdstk.Reference(via_dev_6, (6.25,1.64)))
gate_xor.add(gdstk.Reference(via_dev_6, (8.53,1.64)))
gate_xor.add(gdstk.Reference(via_dev, (5.68,0.15)))
gate_xor.add(gdstk.Reference(via_dev_6, (10.81,0.94)))
gate_xor.add(gdstk.Reference(via_dev_2_1_1_1_3_2_1_1, (10.24,2.34)))
gate_xor.add(gdstk.Reference(via_dev_2_1_1_1_3_2_1_1, (10.24,2.74), x_reflection=True))
gate_xor.add(gdstk.Reference(via_dev_2_1_1_1_3_2_1_1_, (10.24,4.14), x_reflection=True))
gate_xor.add(gdstk.Reference(via_dev_2_1_1_1_3_2_1_1_, (10.24,3.74)))
gate_xor.add(gdstk.Reference(via_dev, (14.23,0.15)))
gate_xor.add(gdstk.Reference(via_dev_6, (26.77,0.94)))
gate_xor.add(gdstk.Reference(via_dev, (14.23,0.15)))
gate_xor.add(gdstk.Reference(via_dev_6, (24.49,0.94)))
gate_xor.add(gdstk.Reference(via_dev_6, (18.79,3.04)))
gate_xor.add(gdstk.Reference(via_dev_7, (14.8,3.74)))
gate_xor.add(gdstk.Reference(via_dev_6, (15.37,0.94)))
gate_xor.add(gdstk.Reference(via_dev_6, (21.07,3.04)))
gate_xor.add(gdstk.Reference(via_dev_6, (14.23,3.04)))
gate_xor.add(gdstk.Reference(via_dev_7, (20.5,2.34)))
gate_xor.add(gdstk.Reference(via_dev_7, (21.64,2.34)))
gate_xor.add(gdstk.Reference(via_dev, (15.94,0.15)))
gate_xor.add(gdstk.Reference(via_dev, (22.21,0.15)))
gate_xor.add(gdstk.Reference(via_dev, (21.64,0.15)))
gate_xor.add(gdstk.Reference(via_dev, (21.07,0.15)))
gate_xor.add(gdstk.Reference(via_dev, (19.36,0.15)))
gate_xor.add(gdstk.Reference(via_dev, (21.07,0.15)))
gate_xor.add(gdstk.Reference(via_dev, (20.5,0.15)))
gate_xor.add(gdstk.Reference(via_dev, (19.93,0.15)))
gate_xor.add(gdstk.Reference(via_dev, (26.77,0.15)))
gate_xor.add(gdstk.Reference(via_dev, (25.06,0.15)))
gate_xor.add(gdstk.Reference(via_dev, (26.77,0.15)))
gate_xor.add(gdstk.Reference(via_dev_7, (19.36,2.34)))
gate_xor.add(gdstk.Reference(via_dev_6, (22.21,1.64)))
gate_xor.add(gdstk.Reference(via_dev, (26.2,0.15)))
gate_xor.add(gdstk.Reference(via_dev, (16.51,0.15)))
gate_xor.add(gdstk.Reference(via_dev, (25.63,0.15)))
gate_xor.add(gdstk.Reference(via_dev, (23.35,0.15)))
gate_xor.add(gdstk.Reference(via_dev, (25.06,0.15)))
gate_xor.add(gdstk.Reference(via_dev, (24.49,0.15)))
gate_xor.add(gdstk.Reference(via_dev, (23.92,0.15)))
gate_xor.add(gdstk.Reference(via_dev, (17.65,0.15)))
gate_xor.add(gdstk.Reference(via_dev_6, (19.93,1.64)))
gate_xor.add(gdstk.Reference(via_dev, (19.36,0.15)))
gate_xor.add(gdstk.Reference(via_dev_6, (17.65,1.64)))
gate_xor.add(gdstk.Reference(via_dev, (15.94,0.15)))
gate_xor.add(gdstk.Reference(via_dev, (15.37,0.15)))
gate_xor.add(gdstk.Reference(via_dev, (18.79,0.15)))
gate_xor.add(gdstk.Reference(via_dev, (18.22,0.15)))
gate_xor.add(gdstk.Reference(via_dev_7, (18.22,2.34)))
gate_xor.add(gdstk.Reference(via_dev, (23.35,0.15)))
gate_xor.add(gdstk.Reference(via_dev, (14.8,0.15)))
gate_xor.add(gdstk.Reference(via_dev_2_1_1_1_3, (17.08,4.14), x_reflection=True))
gate_xor.add(gdstk.Reference(via_dev_2_1_1_1_3, (17.08,3.74)))
gate_xor.add(gdstk.Reference(via_dev_2_1_1_1_1_3, (16.34,4.14), rotation=pi))
gate_xor.add(gdstk.Reference(via_dev_2_1_1_1_1_3, (16.34,3.74), rotation=pi, x_reflection=True))
gate_xor.add(gdstk.Reference(via_dev_2_1_1_1_3_1, (17.08,2.34)))
gate_xor.add(gdstk.Reference(via_dev_2_1_1_1_3_1, (17.08,2.74), x_reflection=True))
gate_xor.add(gdstk.Reference(via_dev_2_1_1_1_1_3_1, (16.34,2.34), rotation=pi, x_reflection=True))
gate_xor.add(gdstk.Reference(via_dev_2_1_1_1_1_3_1, (16.34,2.74), rotation=pi))
gate_xor.add(gdstk.Reference(via_dev_2_1_1_1_3_2, (23.18,4.14), rotation=pi))
gate_xor.add(gdstk.Reference(via_dev_2_1_1_1_3_2, (23.18,3.74), rotation=pi, x_reflection=True))
gate_xor.add(gdstk.Reference(via_dev_2_1_1_1_3_2_1, (23.18,2.34), rotation=pi, x_reflection=True))
gate_xor.add(gdstk.Reference(via_dev_2_1_1_1_3_2_1, (23.18,2.74), rotation=pi))
gate_xor.add(gdstk.Reference(via_dev, (17.65,0.15)))
gate_xor.add(gdstk.Reference(via_dev_7, (23.92,3.74)))
gate_xor.add(gdstk.Reference(via_dev_7, (25.06,3.74)))
gate_xor.add(gdstk.Reference(via_dev_7, (26.2,3.74)))
gate_xor.add(gdstk.Reference(via_dev_7, (27.34,3.74)))
gate_xor.add(gdstk.Reference(via_dev, (17.08,0.15)))
gate_xor.add(gdstk.Reference(via_dev, (21.07,0.15)))
gate_xor.add(gdstk.Reference(via_dev, (22.78,0.15)))
gate_xor.add(gdstk.Label('B', (0.61,2.54), layer=36, texttype=10))
gate_xor.add(gdstk.Label('S', (28.005,3.24), layer=36, texttype=10))
gate_xor.add(gdstk.Label('A', (0.65,3.94), layer=36, texttype=10))
gate_xor.add(gdstk.Label('VSS', (1.895,0.35), layer=34, texttype=10))
gate_xor.add(gdstk.Label('VDD', (1.86,8.38), layer=34, texttype=10))
gate_xor.add(gdstk.Label('VSS', (1.895,0.35), layer=34, texttype=10))
gate_xor.add(gdstk.Label('VDD', (1.86,8.38), layer=34, texttype=10))

lib.write_gds('gate_xor.gds')
